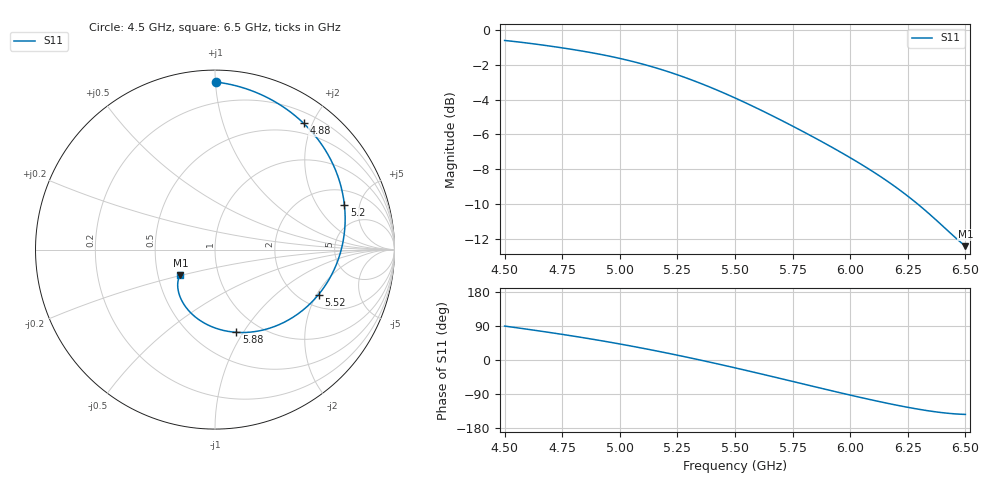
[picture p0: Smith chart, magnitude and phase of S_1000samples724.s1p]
! TOUCHSTONE file generated by CST MICROWAVE STUDIO
! Date and time: Sat Oct 29 04:07:46 2022
! Project name: L.cst
! Parameters = {Di=1.27; Epsilon_r=1.56; InnerDiameter=1.27; Length=2; Lf=10; Lg=60; OuterConductorThickness=0.2921; OuterDiameter=3.6; Wf=3; Wp=41.2; de=1.5; df=6.8; g=0.8; gx=3.27921; gy=3.81001; h=2.34; hf=1.524; px=13.3097; py=8.69658; w=9.7; wx=10.0305; wy=4.88658}
! Header version: 2018
! Port assignment regex: !\s*Touchstone port\s*([0-9]+)\s*=\s*(CST MWS port|CST DS port)\s*([0-9]+|Zmin|Zmax)\s*\(\"(.*)\"\)(\s*mode\s*([0-9]+))?.*
! Touchstone port assignment:
! Touchstone port 1 = CST MWS port 1 ("")
# GHz S DB R 50
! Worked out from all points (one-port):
!   101 points, 4.5 GHz to 6.5 GHz, reference 50 ohm
!   lowest |S11| = -12.4 dB at 6.5 GHz (marker M1), VSWR 1.63, Z = 32.7 - j9.84 ohm
!   |S11| at or under -10 dB: 6.293 GHz to end of sweep
!   S11 on the Smith chart (normalised r, x): 4.5 GHz: 0.07, +1.01; 4.88 GHz: 0.35, +1.87; 5.2 GHz: 3.02, +3.56; 5.52 GHz: 2.50, -2.07; 5.88 GHz: 0.78, -0.93; 6.5 GHz: 0.65, -0.20
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4.5  -0.60 89.5
4.56  -0.69 84.5
4.64  -0.82 77.6
4.76  -1.05 66.7
4.88  -1.31 55.0
5  -1.64 42.3
5.1  -1.96 30.9
5.2  -2.36 18.9
5.26  -2.62 11.4
5.32  -2.91 3.7
5.38  -3.22 -4.3
5.44  -3.56 -12.4
5.5  -3.91 -20.7
5.52  -4.03 -23.5
5.58  -4.40 -32.0
5.64  -4.79 -40.6
5.7  -5.19 -49.3
5.76  -5.59 -58.0
5.82  -6.01 -66.7
5.88  -6.44 -75.5
6  -7.34 -92.6
6.08  -7.98 -103.6
6.14  -8.50 -111.5
6.2  -9.05 -119.0
6.26  -9.65 -126.0
6.36  -10.77 -135.9
6.44  -11.74 -141.4
6.5  -12.43 -143.6
